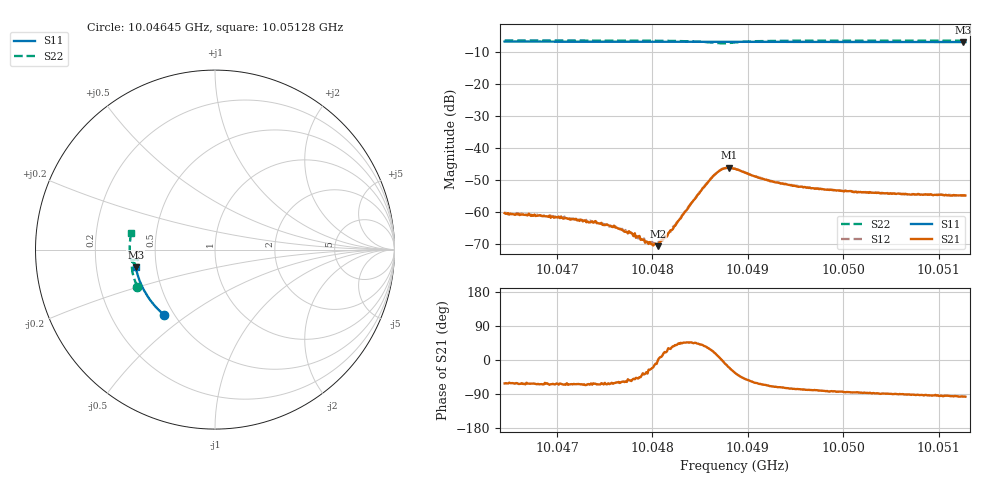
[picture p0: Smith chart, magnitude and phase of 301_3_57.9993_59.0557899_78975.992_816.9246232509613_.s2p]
#  HZ  S  RI  R  50.00
! Rohde & Schwarz Vector Network Analyzer
! Rohde-Schwarz,ZNB20-2Port,1311601062101988,3.16
! Created: UTC 3/21/2024, 1:03:48 AM
! freq[Hz]  re:S11  im:S11  re:S21  im:S21  re:S12  im:S12  re:S22  im:S22
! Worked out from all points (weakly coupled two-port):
!   401 points, 10.04645 GHz to 10.05128 GHz, reference 50 ohm
!   highest |S21| = -46.16 dB at 10.04881 GHz (marker M1); lowest = -70.7 dB at 10.04806 GHz (marker M2)
!   lowest |S11| = -6.9 dB at 10.05125 GHz (marker M3), VSWR 2.65, Z = 19 - j4.67 ohm
!   |S11| at or under -10 dB: nowhere
!   |S22| runs from -7.3 to -6.4 dB; largest |S21 - S12| = 0.00034
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1.0046452e10  -0.2834 -0.3637  0.000453 -0.000845  0.000519 -0.000789  -0.4323 -0.2081
1.0046911e10  -0.3061 -0.3437  0.00037 -0.000752  0.000409 -0.000742  -0.444 -0.1795
1.0047261e10  -0.3224 -0.3274  0.000332 -0.000675  0.000367 -0.000654  -0.4516 -0.1568
1.0047454e10  -0.3311 -0.3178  0.000281 -0.000593  0.000344 -0.000558  -0.4554 -0.1438
1.0047623e10  -0.3384 -0.3096  0.000292 -0.000492  0.000329 -0.000464  -0.4584 -0.1323
1.004784e10  -0.3476 -0.2985  0.000278 -0.000305  0.00028 -0.000301  -0.4615 -0.1166
1.0047948e10  -0.3521 -0.2929  0.000276 -0.000199  0.000294 -0.000151  -0.4627 -0.1086
1.0048033e10  -0.3554 -0.2885  0.000314 -5.39e-05  0.000313 -2.84e-05  -0.4633 -0.1019
1.0048057e10  -0.3563 -0.2871  0.000292 -4.72e-06  0.000322 2e-05  -0.4635 -0.1
1.0048069e10  -0.357 -0.2866  0.000329 2.56e-05  0.000349 2e-05  -0.4637 -0.0991
1.0048129e10  -0.3593 -0.2834  0.000393 0.000152  0.000357 0.000145  -0.4637 -0.0941
1.0048178e10  -0.3612 -0.2808  0.00042 0.000243  0.000403 0.000272  -0.4639 -0.0901
1.0048503e10  -0.3735 -0.2631  0.00159 0.00136  0.00151 0.00148  -0.4542 -0.0598
1.0048624e10  -0.3775 -0.2564  0.00315 0.00142  0.00307 0.00164  -0.4397 -0.0536
1.0048721e10  -0.3808 -0.2513  0.00457 0.000125  0.0046 0.0004  -0.4284 -0.0622
1.0048805e10  -0.3837 -0.2466  0.00462 -0.0017  0.00473 -0.00147  -0.4317 -0.0746
1.0048865e10  -0.3857 -0.2433  0.00392 -0.00263  0.00411 -0.00242  -0.4399 -0.0784
1.0049252e10  -0.3982 -0.2211  0.00103 -0.00284  0.00123 -0.00277  -0.4692 -0.0509
1.0049674e10  -0.4106 -0.1962  0.000429 -0.00232  0.00056 -0.00229  -0.4748 -0.0177
1.0050482e10  -0.4295 -0.1467  1.67e-05 -0.00193  0.00013 -0.00197  -0.4741 0.0392
1.0051255e10  -0.4419 -0.0976  -0.000212 -0.0018  -6.94e-05 -0.00182  -0.4667 0.0901
1.0051279e10  -0.4423 -0.0961  -0.000216 -0.00179  -0.000115 -0.0018  -0.4664 0.0919
